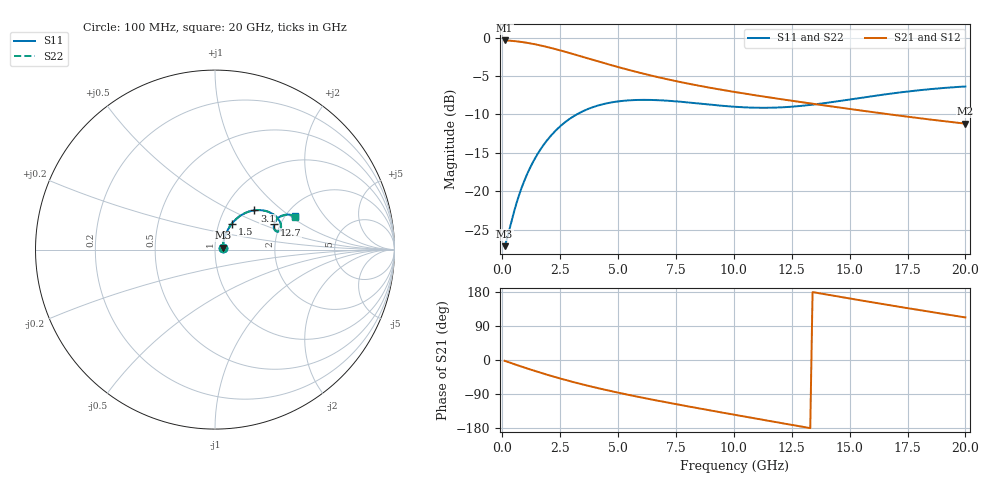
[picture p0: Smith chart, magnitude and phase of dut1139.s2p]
! Touchstone file exported from HFSS 2024.1.0
!  File:  C:/UserFiles/LocalFiles/RDL_TSV_Batchsim/temp_RDL_TSV_1139_1780113857.aedt
!  Generated:  12:17:21 PM May 30, 2026
!  Design:  RDL_TSV
!  Project:  temp_RDL_TSV_1139_1780113857
!  Setup:  Setup1
!  Solution:  Sweep
! Variables:
!  dtsv = 10.47um
!  hbump = 3um
!  htsv = 58.33um
!  ldown = 437.04um
!  lrdl = 610.89um
!  p = 40
!  p1 = 49.19um
!  rhole = 10um
!  subl = 3754.68um
!  t = 450um
!  tdown = 4.57um
!  trdl = 2.15um
!  viad = 10um
!  wdown = 13.16um
!  wrdl = 11um
!  xbump = 18um
# GHz S MA R 50.000000
! Terminal data exported
! Port[1] = TM1_1_T1
! Port[2] = TM1_4_T1
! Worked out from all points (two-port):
!   200 points, 100 MHz to 20 GHz, reference 50 ohm
!   highest |S21| = -0.38 dB at 100 MHz (marker M1); lowest = -11.2 dB at 20 GHz (marker M2)
!   |S21| within 3 dB of the highest: start of sweep to 4.459 GHz
!   lowest |S11| = -27.1 dB at 100 MHz (marker M3), VSWR 1.09, Z = 54.4 + j1.21 ohm
!   |S11| at or under -10 dB: start of sweep to 3.214 GHz
!   |S22| runs from -27.1 to -6.4 dB; largest |S21 - S12| = 9.9e-15
!   S11 on the Smith chart (normalised r, x): 100 MHz: 1.09, +0.02; 1.5 GHz: 1.15, +0.34; 3.1 GHz: 1.37, +0.66; 12.7 GHz: 1.85, +0.59; 20 GHz: 2.24, +1.08
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0.1  0.044 14.6  0.9574 -2.1  0.9574 -2.1  0.044 14.6
! Gamma 0 0 0 0
! Port Impedance 50 0 50 0
0.6  0.08246 50.4  0.9456 -12.7  0.9456 -12.7  0.08245 50.4
0.8  0.102 54.5  0.9374 -16.8  0.9374 -16.8  0.102 54.5
1.1  0.1321 57.0  0.9226 -22.8  0.9226 -22.8  0.1322 57.0
1.5  0.1725 57.0  0.8986 -30.6  0.8986 -30.6  0.1725 57.0
1.9  0.2115 55.0  0.8709 -38.1  0.8709 -38.1  0.2116 55.1
2.3  0.2479 52.1  0.8407 -45.3  0.8407 -45.3  0.248 52.1
3.1  0.309 45.0  0.7778 -58.7  0.7778 -58.7  0.3092 45.0
3.5  0.3328 41.4  0.7469 -65.0  0.7469 -65.0  0.333 41.4
4.2  0.3638 35.4  0.6956 -75.3  0.6956 -75.3  0.3641 35.4
5.1  0.3861 28.7  0.6369 -87.5  0.6369 -87.5  0.3865 28.7
5.9  0.3931 23.9  0.592 -97.6  0.592 -97.6  0.3937 23.9
6.8  0.391 19.9  0.5493 -108.4  0.5493 -108.4  0.3917 19.9
8.4  0.3736 16.2  0.4893 -126.6  0.4893 -126.6  0.3746 16.2
10.1  0.3542 16.9  0.441 -145.3  0.441 -145.3  0.3553 16.8
11.4  0.3493 19.7  0.4108 -159.4  0.4108 -159.4  0.3504 19.6
12.7  0.3571 23.1  0.3843 -173.4  0.3843 -173.4  0.3579 22.9
13.4  0.3661 24.6  0.3711 179.2  0.3711 179.2  0.3668 24.4
15.1  0.3974 26.8  0.3416 161.3  0.3416 161.3  0.3977 26.5
16.7  0.4304 26.6  0.3169 144.9  0.3169 144.9  0.4303 26.4
18.3  0.4591 25.1  0.2953 128.9  0.2953 128.9  0.4587 24.9
20  0.4806 22.7  0.2757 112.3  0.2757 112.3  0.4799 22.5
